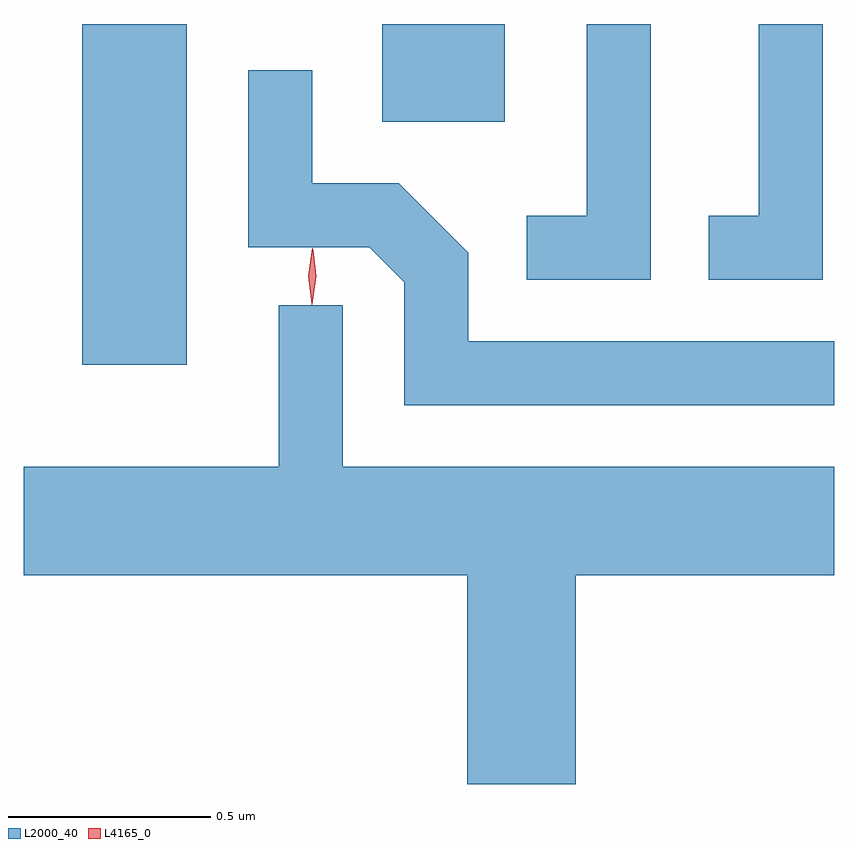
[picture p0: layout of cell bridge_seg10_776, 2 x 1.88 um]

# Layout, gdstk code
import gdstk
lib = gdstk.Library(unit=1e-6, precision=1e-09)
def R(c, l, rs):  # rectangles x0, y0, x1, y1
    for r in rs: c.add(gdstk.rectangle(r[:2], r[2:], *l))
def P(c, l, *ps):  # polygons
    for p in ps: c.add(gdstk.Polygon(p, *l))
L2000_40 = (2000, 40)
L4165_0 = (4165, 0)

bridge_seg10_776 = lib.new_cell('bridge_seg10_776')
R(bridge_seg10_776, L2000_40, [(547.866,2098.896,548.124,2099.737), (548.606,2099.496,548.909,2099.737)])
P(bridge_seg10_776, L2000_40, [(549.694,2099.737),(549.536,2099.737),(549.536,2099.264),(549.413,2099.264),(549.413,2099.106),(549.694,2099.106)],
  [(549.269,2099.737),(549.111,2099.737),(549.111,2099.264),(548.963,2099.264),(548.963,2099.106),(549.269,2099.106)],
  [(549.722,2098.954),(548.819,2098.954),(548.819,2099.172),(548.647,2099.344),(548.434,2099.344),(548.434,2099.623),(548.276,2099.623),(548.276,2099.186),(548.574,2099.186),(548.661,2099.099),(548.661,2098.796),(549.722,2098.796)],
  [(549.084,2098.376),(549.722,2098.376),(549.722,2098.644),(548.509,2098.644),(548.509,2099.043),(548.351,2099.043),(548.351,2098.644),(547.722,2098.644),(547.722,2098.376),(548.816,2098.376),(548.816,2097.861),(549.084,2097.861)])
P(bridge_seg10_776, L4165_0, [(548.433,2099.044),(548.433,2099.045),(548.424,2099.114),(548.434,2099.183),(548.434,2099.184),(548.435,2099.183),(548.444,2099.114),(548.434,2099.045)],
  [(548.433,2099.048),(548.424,2099.114),(548.435,2099.18),(548.435,2099.181),(548.436,2099.18),(548.444,2099.114),(548.434,2099.048),(548.434,2099.048)])

lib.write_gds('bridge_seg10_776.gds')
